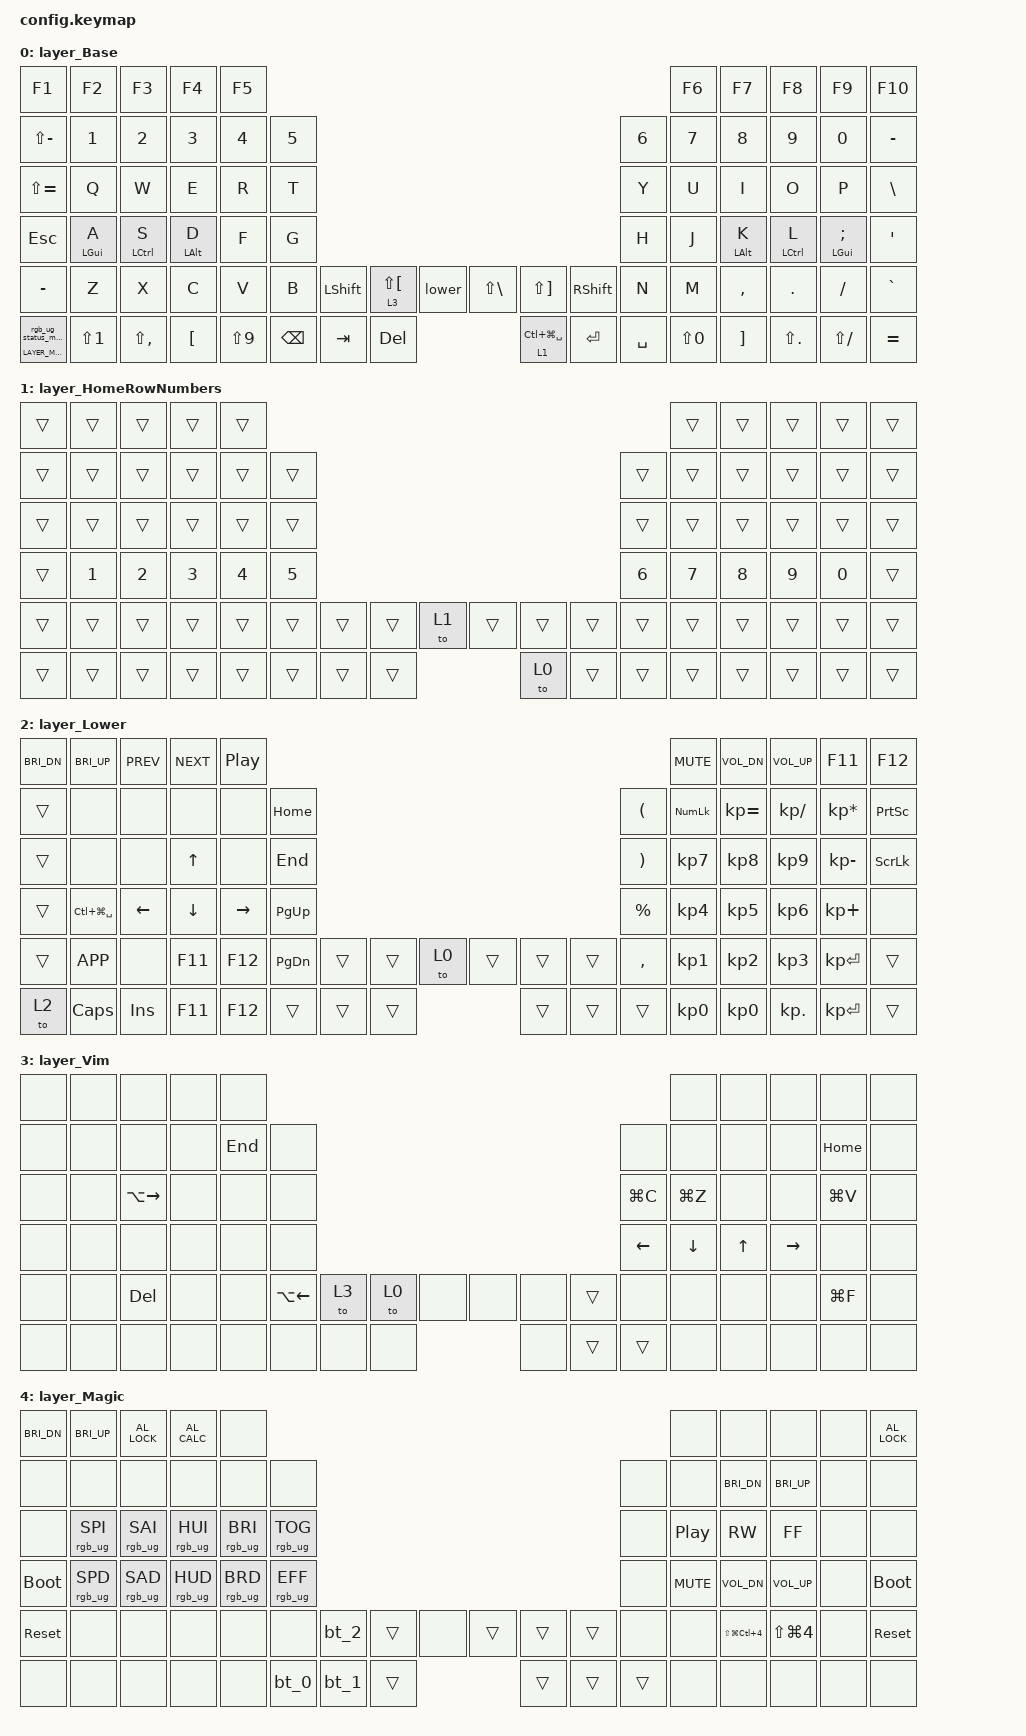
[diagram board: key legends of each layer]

/*
 * Copyright (c) 2020 The ZMK Contributors
 * Copyright (c) 2023 Innaworks Development Limited, trading as MoErgo
 *
 * SPDX-License-Identifier: MIT
 */


/* THIS FILE WAS GENERATED BY GLOVE80 LAYOUT EDITOR
 *
 * This file was generated automatically. You may or may not want to
 * edit it directly.
 */

#include <behaviors.dtsi>
/* Include all behaviour includes needed */
#include <dt-bindings/zmk/outputs.h>
#include <dt-bindings/zmk/keys.h>
#include <dt-bindings/zmk/bt.h>
#include <dt-bindings/zmk/rgb.h>

/* Automatically generated layer name #define */
#define LAYER_Base 0
#define LAYER_HomeRowNumbers 1
#define LAYER_Lower 2
#define LAYER_Vim 3
#define LAYER_Magic 4

/* To deal with the situation where there is no Lower layer, to keep &lower happy */
#ifndef LAYER_Lower
#define LAYER_Lower 0
#endif

/* Custom Device-tree */



/* Glove80 system behavior & macros */
/ {
    behaviors {
        // For the "layer" key, it'd nice to be able to use it as either a shift or a toggle.
        // Configure it as a tap dance, so the first tap (or hold) is a &mo and the second tap is a &to
        lower: lower {
            compatible = "zmk,behavior-tap-dance";
            label = "LAYER_TAP_DANCE";
            #binding-cells = <0>;
            tapping-term-ms = <200>;
            bindings = <&mo LAYER_Lower>, <&to LAYER_Lower>;
        };
    };
};

/ {
    macros {
        rgb_ug_status_macro: rgb_ug_status_macro {
            label = "RGB_UG_STATUS";
            compatible = "zmk,behavior-macro";
            #binding-cells = <0>;
            bindings
                = <&rgb_ug RGB_STATUS>;
        };
    };
};


/ {
#ifdef BT_DISC_CMD
    behaviors {
        bt_0: bt_0 {
            compatible = "zmk,behavior-tap-dance";
            label = "BT_0";
            #binding-cells = <0>;
            tapping-term-ms = <200>;
            bindings = <&bt_select_0>, <&bt BT_DISC 0>;
        };
        bt_1: bt_1 {
            compatible = "zmk,behavior-tap-dance";
            label = "BT_1";
            #binding-cells = <0>;
            tapping-term-ms = <200>;
            bindings = <&bt_select_1>, <&bt BT_DISC 1>;
        };
        bt_2: bt_2 {
            compatible = "zmk,behavior-tap-dance";
            label = "BT_2";
            #binding-cells = <0>;
            tapping-term-ms = <200>;
            bindings = <&bt_select_2>, <&bt BT_DISC 2>;
        };
        bt_3: bt_3 {
            compatible = "zmk,behavior-tap-dance";
            label = "BT_3";
            #binding-cells = <0>;
            tapping-term-ms = <200>;
            bindings = <&bt_select_3>, <&bt BT_DISC 3>;
        };
    };
    macros {
        bt_select_0: bt_select_0 {
            label = "BT_SELECT_0";
            compatible = "zmk,behavior-macro";
            #binding-cells = <0>;
            bindings
                = <&out OUT_BLE>,
                  <&bt BT_SEL 0>;
        };
        bt_select_1: bt_select_1 {
            label = "BT_SELECT_1";
            compatible = "zmk,behavior-macro";
            #binding-cells = <0>;
            bindings
                = <&out OUT_BLE>,
                  <&bt BT_SEL 1>;
        };
        bt_select_2: bt_select_2 {
            label = "BT_SELECT_2";
            compatible = "zmk,behavior-macro";
            #binding-cells = <0>;
            bindings
                = <&out OUT_BLE>,
                  <&bt BT_SEL 2>;
        };
        bt_select_3: bt_select_3 {
            label = "BT_SELECT_3";
            compatible = "zmk,behavior-macro";
            #binding-cells = <0>;
            bindings
                = <&out OUT_BLE>,
                  <&bt BT_SEL 3>;
        };
    };
#else
    macros {
        bt_0: bt_0 {
            label = "BT_0";
            compatible = "zmk,behavior-macro";
            #binding-cells = <0>;
            bindings
                = <&out OUT_BLE>,
                  <&bt BT_SEL 0>;
        };
        bt_1: bt_1 {
            label = "BT_1";
            compatible = "zmk,behavior-macro";
            #binding-cells = <0>;
            bindings
                = <&out OUT_BLE>,
                  <&bt BT_SEL 1>;
        };
        bt_2: bt_2 {
            label = "BT_2";
            compatible = "zmk,behavior-macro";
            #binding-cells = <0>;
            bindings
                = <&out OUT_BLE>,
                  <&bt BT_SEL 2>;
        };
        bt_3: bt_3 {
            label = "BT_3";
            compatible = "zmk,behavior-macro";
            #binding-cells = <0>;
            bindings
                = <&out OUT_BLE>,
                  <&bt BT_SEL 3>;
        };
    };
#endif
};

/ {
    behaviors {
        magic: magic {
            compatible = "zmk,behavior-hold-tap";
            label = "MAGIC_HOLD_TAP";
            #binding-cells = <2>;
            flavor = "tap-preferred";
            tapping-term-ms = <200>;
            bindings = <&mo>, <&rgb_ug_status_macro>;
        };
    };
};

/* #define for key positions */
#define POS_LH_T1 52
#define POS_LH_T2 53
#define POS_LH_T3 54
#define POS_LH_T4 69
#define POS_LH_T5 70
#define POS_LH_T6 71
#define POS_LH_C1R2 15
#define POS_LH_C1R3 27
#define POS_LH_C1R4 39
#define POS_LH_C1R5 51
#define POS_LH_C2R1 4
#define POS_LH_C2R2 14
#define POS_LH_C2R3 26
#define POS_LH_C2R4 38
#define POS_LH_C2R5 50
#define POS_LH_C2R6 68
#define POS_LH_C3R1 3
#define POS_LH_C3R2 13
#define POS_LH_C3R3 25
#define POS_LH_C3R4 37
#define POS_LH_C3R5 49
#define POS_LH_C3R6 67
#define POS_LH_C4R1 2
#define POS_LH_C4R2 12
#define POS_LH_C4R3 24
#define POS_LH_C4R4 36
#define POS_LH_C4R5 48
#define POS_LH_C4R6 66
#define POS_LH_C5R1 1
#define POS_LH_C5R2 11
#define POS_LH_C5R3 23
#define POS_LH_C5R4 35
#define POS_LH_C5R5 47
#define POS_LH_C5R6 65
#define POS_LH_C6R1 0
#define POS_LH_C6R2 10
#define POS_LH_C6R3 22
#define POS_LH_C6R4 34
#define POS_LH_C6R5 46
#define POS_LH_C6R6 64
#define POS_RH_T1 57
#define POS_RH_T2 56
#define POS_RH_T3 55
#define POS_RH_T4 74
#define POS_RH_T5 73
#define POS_RH_T6 72
#define POS_RH_C1R2 16
#define POS_RH_C1R3 28
#define POS_RH_C1R4 40
#define POS_RH_C1R5 58
#define POS_RH_C2R1 5
#define POS_RH_C2R2 17
#define POS_RH_C2R3 29
#define POS_RH_C2R4 41
#define POS_RH_C2R5 59
#define POS_RH_C2R6 75
#define POS_RH_C3R1 6
#define POS_RH_C3R2 18
#define POS_RH_C3R3 30
#define POS_RH_C3R4 42
#define POS_RH_C3R5 60
#define POS_RH_C3R6 76
#define POS_RH_C4R1 7
#define POS_RH_C4R2 19
#define POS_RH_C4R3 31
#define POS_RH_C4R4 43
#define POS_RH_C4R5 61
#define POS_RH_C4R6 77
#define POS_RH_C5R1 8
#define POS_RH_C5R2 20
#define POS_RH_C5R3 32
#define POS_RH_C5R4 44
#define POS_RH_C5R5 62
#define POS_RH_C5R6 78
#define POS_RH_C6R1 9
#define POS_RH_C6R2 21
#define POS_RH_C6R3 33
#define POS_RH_C6R4 45
#define POS_RH_C6R5 63
#define POS_RH_C6R6 79

    /* Custom Defined Behaviors */
/ {
    // NOTE: Use the `#define` settings below to customize this keymap!
// For example, here are the main optional features you can enable:
#define DIFFICULTY_LEVEL 0 // 0:custom, 1:easy -> 5:hard (see below)
// TIP: Add more setting overrides here instead of editing them below.

//////////////////////////////////////////////////////////////////////////////
//
// Advanced Home Row Mods (HRM) Example based on
// Sunaku's Keymap v35 -- "Glorious Engrammer"
// - https://github.com/sunaku/glove80-keymaps
//
//////////////////////////////////////////////////////////////////////////////

//
// DIFFICULTY_LEVEL specifies your level of expertise with this keymap.
// It's meant to help newcomers gradually work their way up to mastery.
// You can disable this setting by omitting it or assigning a `0` zero.
//
// #define DIFFICULTY_LEVEL 0 // custom (see defaults below)
// #define DIFFICULTY_LEVEL 1 // novice (500ms)
// #define DIFFICULTY_LEVEL 2 // slower (400ms)
// #define DIFFICULTY_LEVEL 3 // normal (300ms)
// #define DIFFICULTY_LEVEL 4 // faster (200ms)
// #define DIFFICULTY_LEVEL 5 // expert (100ms)
//
#if defined(DIFFICULTY_LEVEL) && DIFFICULTY_LEVEL > 0
#define DIFFICULTY_THRESHOLD ((6-DIFFICULTY_LEVEL)*100)
#ifndef HOMEY_HOLDING_TIME
#define HOMEY_HOLDING_TIME DIFFICULTY_THRESHOLD
#endif
#ifndef INDEX_HOLDING_TIME
#define INDEX_HOLDING_TIME DIFFICULTY_THRESHOLD
#endif
#endif

//
// Customization by finger
//
#if defined(DIFFICULTY_LEVEL) && DIFFICULTY_LEVEL == 0
#ifndef INDEX_HOLDING_TIME
#define INDEX_HOLDING_TIME 170
#endif
#ifndef MIDDY_HOLDING_TIME
#define MIDDY_HOLDING_TIME 170
#endif
#ifndef RING1_HOLDING_TIME
#define RING1_HOLDING_TIME 180
#endif
#ifndef RING2_HOLDING_TIME
#define RING2_HOLDING_TIME 190
#endif
#ifndef PINKY_HOLDING_TIME
#define PINKY_HOLDING_TIME 210
#endif
#endif


behaviors {

    //////////////////////////////////////////////////////////////////////////
    //
    // Miryoku layers and home row mods (ported from my QMK endgame)
    // - https://sunaku.github.io/home-row-mods.html#porting-to-zmk
    // - https://github.com/urob/zmk-config#timeless-homerow-mods
    //
    //////////////////////////////////////////////////////////////////////////

    //
    // HOMEY_HOLDING_TYPE defines the flavor of ZMK hold-tap behavior to use
    // for the pinky, ring, and middle fingers (which are assigned to Super,
    // Alt, and Ctrl respectively in the Miryoku system) on home row keys.
    //
    #ifndef HOMEY_HOLDING_TYPE
    #define HOMEY_HOLDING_TYPE "tap-preferred"
    #endif

    //
    // HOMEY_HOLDING_TIME defines how long you need to hold (milliseconds)
    // home row mod keys in order to send their modifiers to the computer
    // (i.e. "register" them) for mod-click mouse usage (e.g. Ctrl-Click).
    //
    #ifndef HOMEY_HOLDING_TIME
    #define HOMEY_HOLDING_TIME 270 // TAPPING_TERM + ALLOW_CROSSOVER_AFTER
    #endif

    //
    // HOMEY_STREAK_DECAY defines how long you need to wait (milliseconds)
    // after typing before you can use home row mods again.  It prevents
    // unintended activation of home row mods when you're actively typing.
    //
    #ifndef HOMEY_STREAK_DECAY
    #define HOMEY_STREAK_DECAY 250
    #endif

    //
    // HOMEY_REPEAT_DECAY defines how much time you have left (milliseconds)
    // after tapping a key to hold it again in order to make it auto-repeat.
    //
    #ifndef HOMEY_REPEAT_DECAY
    #define HOMEY_REPEAT_DECAY 300 // "tap then hold" for key auto-repeat
    #endif

    //
    // INDEX_HOLDING_TYPE defines the flavor of ZMK hold-tap behavior to use
    // for index fingers (which Miryoku assigns to Shift) on home row keys.
    //
    #ifndef INDEX_HOLDING_TYPE
    #define INDEX_HOLDING_TYPE "tap-preferred"
    #endif

    //
    // INDEX_HOLDING_TIME defines how long you need to hold (milliseconds)
    // index finger keys in order to send their modifiers to the computer
    // (i.e. "register" them) for mod-click mouse usage (e.g. Shift-Click).
    //
    #ifndef INDEX_HOLDING_TIME
    #define INDEX_HOLDING_TIME 170
    #endif

    //
    // INDEX_STREAK_DECAY defines how long you need to wait (milliseconds)
    // after typing before you can use home row mods again.  It prevents
    // unintended activation of home row mods when you're actively typing.
    //
    #ifndef INDEX_STREAK_DECAY
    #define INDEX_STREAK_DECAY 150
    #endif

    //
    // INDEX_REPEAT_DECAY defines how much time you have left (milliseconds)
    // after tapping a key to hold it again in order to make it auto-repeat.
    //
    #ifndef INDEX_REPEAT_DECAY
    #define INDEX_REPEAT_DECAY 300 // "tap then hold" for key auto-repeat
    #endif

    //
    // Glove80 key positions index for positional hold-tap
    // - https://discord.com/channels/877392805654306816/937645688244826154/1066713913351221248
    // - https://media.discordapp.net/attachments/937645688244826154/1066713913133121556/image.png
    //
    // |------------------------|------------------------|
    // | LEFT_HAND_KEYS         |        RIGHT_HAND_KEYS |
    // |                        |                        |
    // |  0  1  2  3  4         |          5  6  7  8  9 |
    // | 10 11 12 13 14 15      |      16 17 18 19 20 21 |
    // | 22 23 24 25 26 27      |      28 29 30 31 32 33 |
    // | 34 35 36 37 38 39      |      40 41 42 43 44 45 |
    // | 46 47 48 49 50 51      |      58 59 60 61 62 63 |
    // | 64 65 66 67 68         |         75 76 77 78 79 |
    // |                69 52   |   57 74                |
    // |                 70 53  |  56 73                 |
    // |                  71 54 | 55 72                  |
    // |------------------------|------------------------|
    //
    #define LEFT_HAND_KEYS      \
          0  1  2  3  4         \
         10 11 12 13 14 15      \
         22 23 24 25 26 27      \
         34 35 36 37 38 39      \
         46 47 48 49 50 51      \
         64 65 66 67 68
    #define RIGHT_HAND_KEYS     \
                                           5  6  7  8  9 \
                                       16 17 18 19 20 21 \
                                       28 29 30 31 32 33 \
                                       40 41 42 43 44 45 \
                                       58 59 60 61 62 63 \
                                          75 76 77 78 79
    #define THUMB_KEYS          \
                        69 52       57 74                \
                         70 53     56 73                 \
                          71 54   55 72

    //
    // Home row mods with per-finger configuration settings
    //
    #ifndef PINKY_HOLDING_TYPE
    #define PINKY_HOLDING_TYPE HOMEY_HOLDING_TYPE
    #endif
    #ifndef PINKY_HOLDING_TIME
    #define PINKY_HOLDING_TIME HOMEY_HOLDING_TIME
    #endif
    #ifndef PINKY_STREAK_DECAY
    #define PINKY_STREAK_DECAY HOMEY_STREAK_DECAY
    #endif
    #ifndef PINKY_REPEAT_DECAY
    #define PINKY_REPEAT_DECAY HOMEY_REPEAT_DECAY
    #endif
    #ifndef RING1_HOLDING_TYPE
    #define RING1_HOLDING_TYPE HOMEY_HOLDING_TYPE
    #endif
    #ifndef RING1_HOLDING_TIME
    #define RING1_HOLDING_TIME HOMEY_HOLDING_TIME
    #endif
    #ifndef RING1_STREAK_DECAY
    #define RING1_STREAK_DECAY HOMEY_STREAK_DECAY
    #endif
    #ifndef RING1_REPEAT_DECAY
    #define RING1_REPEAT_DECAY HOMEY_REPEAT_DECAY
    #endif
    #ifndef RING2_HOLDING_TYPE
    #define RING2_HOLDING_TYPE HOMEY_HOLDING_TYPE
    #endif
    #ifndef RING2_HOLDING_TIME
    #define RING2_HOLDING_TIME HOMEY_HOLDING_TIME
    #endif
    #ifndef RING2_STREAK_DECAY
    #define RING2_STREAK_DECAY HOMEY_STREAK_DECAY
    #endif
    #ifndef RING2_REPEAT_DECAY
    #define RING2_REPEAT_DECAY HOMEY_REPEAT_DECAY
    #endif
    #ifndef MIDDY_HOLDING_TYPE
    #define MIDDY_HOLDING_TYPE HOMEY_HOLDING_TYPE
    #endif
    #ifndef MIDDY_HOLDING_TIME
    #define MIDDY_HOLDING_TIME HOMEY_HOLDING_TIME
    #endif
    #ifndef MIDDY_STREAK_DECAY
    #define MIDDY_STREAK_DECAY HOMEY_STREAK_DECAY
    #endif
    #ifndef MIDDY_REPEAT_DECAY
    #define MIDDY_REPEAT_DECAY HOMEY_REPEAT_DECAY
    #endif
    #ifndef INDEX_HOLDING_TYPE
    #define INDEX_HOLDING_TYPE HOMEY_HOLDING_TYPE
    #endif
    #ifndef INDEX_HOLDING_TIME
    #define INDEX_HOLDING_TIME HOMEY_HOLDING_TIME
    #endif
    #ifndef INDEX_STREAK_DECAY
    #define INDEX_STREAK_DECAY HOMEY_STREAK_DECAY
    #endif
    #ifndef INDEX_REPEAT_DECAY
    #define INDEX_REPEAT_DECAY HOMEY_REPEAT_DECAY
    #endif
    #ifndef LEFT_PINKY_HOLDING_TYPE
    #define LEFT_PINKY_HOLDING_TYPE PINKY_HOLDING_TYPE
    #endif
    #ifndef LEFT_PINKY_HOLDING_TIME
    #define LEFT_PINKY_HOLDING_TIME PINKY_HOLDING_TIME
    #endif
    #ifndef LEFT_PINKY_STREAK_DECAY
    #define LEFT_PINKY_STREAK_DECAY PINKY_STREAK_DECAY
    #endif
    #ifndef LEFT_PINKY_REPEAT_DECAY
    #define LEFT_PINKY_REPEAT_DECAY PINKY_REPEAT_DECAY
    #endif
    left_pinky: homey_left_pinky {
        compatible = "zmk,behavior-hold-tap";
        flavor = LEFT_PINKY_HOLDING_TYPE;
        hold-trigger-key-positions = <RIGHT_HAND_KEYS THUMB_KEYS>;
        hold-trigger-on-release; // wait for other home row mods
        tapping-term-ms = <LEFT_PINKY_HOLDING_TIME>;
        quick-tap-ms = <LEFT_PINKY_REPEAT_DECAY>;
        require-prior-idle-ms = <LEFT_PINKY_STREAK_DECAY>;
        #binding-cells = <2>;
        bindings = <&kp>, <&kp>;
    };
    #ifndef RIGHT_PINKY_HOLDING_TYPE
    #define RIGHT_PINKY_HOLDING_TYPE PINKY_HOLDING_TYPE
    #endif
    #ifndef RIGHT_PINKY_HOLDING_TIME
    #define RIGHT_PINKY_HOLDING_TIME PINKY_HOLDING_TIME
    #endif
    #ifndef RIGHT_PINKY_STREAK_DECAY
    #define RIGHT_PINKY_STREAK_DECAY PINKY_STREAK_DECAY
    #endif
    #ifndef RIGHT_PINKY_REPEAT_DECAY
    #define RIGHT_PINKY_REPEAT_DECAY PINKY_REPEAT_DECAY
    #endif
    right_pinky: homey_right_pinky {
        compatible = "zmk,behavior-hold-tap";
        flavor = RIGHT_PINKY_HOLDING_TYPE;
        hold-trigger-key-positions = <LEFT_HAND_KEYS THUMB_KEYS>;
        hold-trigger-on-release; // wait for other home row mods
        tapping-term-ms = <RIGHT_PINKY_HOLDING_TIME>;
        quick-tap-ms = <RIGHT_PINKY_REPEAT_DECAY>;
        require-prior-idle-ms = <RIGHT_PINKY_STREAK_DECAY>;
        #binding-cells = <2>;
        bindings = <&kp>, <&kp>;
    };
    #ifndef LEFT_RING1_HOLDING_TYPE
    #define LEFT_RING1_HOLDING_TYPE RING1_HOLDING_TYPE
    #endif
    #ifndef LEFT_RING1_HOLDING_TIME
    #define LEFT_RING1_HOLDING_TIME RING1_HOLDING_TIME
    #endif
    #ifndef LEFT_RING1_STREAK_DECAY
    #define LEFT_RING1_STREAK_DECAY RING1_STREAK_DECAY
    #endif
    #ifndef LEFT_RING1_REPEAT_DECAY
    #define LEFT_RING1_REPEAT_DECAY RING1_REPEAT_DECAY
    #endif
    left_ring1: homey_left_ring1 {
        compatible = "zmk,behavior-hold-tap";
        flavor = LEFT_RING1_HOLDING_TYPE;
        hold-trigger-key-positions = <RIGHT_HAND_KEYS THUMB_KEYS>;
        hold-trigger-on-release; // wait for other home row mods
        tapping-term-ms = <LEFT_RING1_HOLDING_TIME>;
        quick-tap-ms = <LEFT_RING1_REPEAT_DECAY>;
        require-prior-idle-ms = <LEFT_RING1_STREAK_DECAY>;
        #binding-cells = <2>;
        bindings = <&kp>, <&kp>;
    };
    #ifndef RIGHT_RING1_HOLDING_TYPE
    #define RIGHT_RING1_HOLDING_TYPE RING1_HOLDING_TYPE
    #endif
    #ifndef RIGHT_RING1_HOLDING_TIME
    #define RIGHT_RING1_HOLDING_TIME RING1_HOLDING_TIME
    #endif
    #ifndef RIGHT_RING1_STREAK_DECAY
    #define RIGHT_RING1_STREAK_DECAY RING1_STREAK_DECAY
    #endif
    #ifndef RIGHT_RING1_REPEAT_DECAY
    #define RIGHT_RING1_REPEAT_DECAY RING1_REPEAT_DECAY
    #endif
    right_ring1: homey_right_ring1 {
        compatible = "zmk,behavior-hold-tap";
        flavor = RIGHT_RING1_HOLDING_TYPE;
        hold-trigger-key-positions = <LEFT_HAND_KEYS THUMB_KEYS>;
        hold-trigger-on-release; // wait for other home row mods
        tapping-term-ms = <RIGHT_RING1_HOLDING_TIME>;
        quick-tap-ms = <RIGHT_RING1_REPEAT_DECAY>;
        require-prior-idle-ms = <RIGHT_RING1_STREAK_DECAY>;
        #binding-cells = <2>;
        bindings = <&kp>, <&kp>;
    };
    #ifndef LEFT_RING2_HOLDING_TYPE
    #define LEFT_RING2_HOLDING_TYPE RING2_HOLDING_TYPE
    #endif
    #ifndef LEFT_RING2_HOLDING_TIME
    #define LEFT_RING2_HOLDING_TIME RING2_HOLDING_TIME
    #endif
    #ifndef LEFT_RING2_STREAK_DECAY
    #define LEFT_RING2_STREAK_DECAY RING2_STREAK_DECAY
    #endif
    #ifndef LEFT_RING2_REPEAT_DECAY
    #define LEFT_RING2_REPEAT_DECAY RING2_REPEAT_DECAY
    #endif
    left_ring2: homey_left_ring2 {
        compatible = "zmk,behavior-hold-tap";
        flavor = LEFT_RING2_HOLDING_TYPE;
        hold-trigger-key-positions = <RIGHT_HAND_KEYS THUMB_KEYS>;
        hold-trigger-on-release; // wait for other home row mods
        tapping-term-ms = <LEFT_RING2_HOLDING_TIME>;
        quick-tap-ms = <LEFT_RING2_REPEAT_DECAY>;
        require-prior-idle-ms = <LEFT_RING2_STREAK_DECAY>;
        #binding-cells = <2>;
        bindings = <&kp>, <&kp>;
    };
    #ifndef RIGHT_RING2_HOLDING_TYPE
    #define RIGHT_RING2_HOLDING_TYPE RING2_HOLDING_TYPE
    #endif
    #ifndef RIGHT_RING2_HOLDING_TIME
    #define RIGHT_RING2_HOLDING_TIME RING2_HOLDING_TIME
    #endif
    #ifndef RIGHT_RING2_STREAK_DECAY
    #define RIGHT_RING2_STREAK_DECAY RING2_STREAK_DECAY
    #endif
    #ifndef RIGHT_RING2_REPEAT_DECAY
    #define RIGHT_RING2_REPEAT_DECAY RING2_REPEAT_DECAY
    #endif
    right_ring2: homey_right_ring2 {
        compatible = "zmk,behavior-hold-tap";
        flavor = RIGHT_RING2_HOLDING_TYPE;
        hold-trigger-key-positions = <LEFT_HAND_KEYS THUMB_KEYS>;
        hold-trigger-on-release; // wait for other home row mods
        tapping-term-ms = <RIGHT_RING2_HOLDING_TIME>;
        quick-tap-ms = <RIGHT_RING2_REPEAT_DECAY>;
        require-prior-idle-ms = <RIGHT_RING2_STREAK_DECAY>;
        #binding-cells = <2>;
        bindings = <&kp>, <&kp>;
    };
    #ifndef LEFT_MIDDY_HOLDING_TYPE
    #define LEFT_MIDDY_HOLDING_TYPE MIDDY_HOLDING_TYPE
    #endif
    #ifndef LEFT_MIDDY_HOLDING_TIME
    #define LEFT_MIDDY_HOLDING_TIME MIDDY_HOLDING_TIME
    #endif
    #ifndef LEFT_MIDDY_STREAK_DECAY
    #define LEFT_MIDDY_STREAK_DECAY MIDDY_STREAK_DECAY
    #endif
    #ifndef LEFT_MIDDY_REPEAT_DECAY
    #define LEFT_MIDDY_REPEAT_DECAY MIDDY_REPEAT_DECAY
    #endif
    left_middy: homey_left_middy {
        compatible = "zmk,behavior-hold-tap";
        flavor = LEFT_MIDDY_HOLDING_TYPE;
        hold-trigger-key-positions = <RIGHT_HAND_KEYS THUMB_KEYS>;
        hold-trigger-on-release; // wait for other home row mods
        tapping-term-ms = <LEFT_MIDDY_HOLDING_TIME>;
        quick-tap-ms = <LEFT_MIDDY_REPEAT_DECAY>;
        require-prior-idle-ms = <LEFT_MIDDY_STREAK_DECAY>;
        #binding-cells = <2>;
        bindings = <&kp>, <&kp>;
    };
    #ifndef RIGHT_MIDDY_HOLDING_TYPE
    #define RIGHT_MIDDY_HOLDING_TYPE MIDDY_HOLDING_TYPE
    #endif
    #ifndef RIGHT_MIDDY_HOLDING_TIME
    #define RIGHT_MIDDY_HOLDING_TIME MIDDY_HOLDING_TIME
    #endif
    #ifndef RIGHT_MIDDY_STREAK_DECAY
    #define RIGHT_MIDDY_STREAK_DECAY MIDDY_STREAK_DECAY
    #endif
    #ifndef RIGHT_MIDDY_REPEAT_DECAY
    #define RIGHT_MIDDY_REPEAT_DECAY MIDDY_REPEAT_DECAY
    #endif
    right_middy: homey_right_middy {
        compatible = "zmk,behavior-hold-tap";
        flavor = RIGHT_MIDDY_HOLDING_TYPE;
        hold-trigger-key-positions = <LEFT_HAND_KEYS THUMB_KEYS>;
        hold-trigger-on-release; // wait for other home row mods
        tapping-term-ms = <RIGHT_MIDDY_HOLDING_TIME>;
        quick-tap-ms = <RIGHT_MIDDY_REPEAT_DECAY>;
        require-prior-idle-ms = <RIGHT_MIDDY_STREAK_DECAY>;
        #binding-cells = <2>;
        bindings = <&kp>, <&kp>;
    };
    #ifndef LEFT_INDEX_HOLDING_TYPE
    #define LEFT_INDEX_HOLDING_TYPE INDEX_HOLDING_TYPE
    #endif
    #ifndef LEFT_INDEX_HOLDING_TIME
    #define LEFT_INDEX_HOLDING_TIME INDEX_HOLDING_TIME
    #endif
    #ifndef LEFT_INDEX_STREAK_DECAY
    #define LEFT_INDEX_STREAK_DECAY INDEX_STREAK_DECAY
    #endif
    #ifndef LEFT_INDEX_REPEAT_DECAY
    #define LEFT_INDEX_REPEAT_DECAY INDEX_REPEAT_DECAY
    #endif
    left_index: homey_left_index {
        compatible = "zmk,behavior-hold-tap";
        flavor = LEFT_INDEX_HOLDING_TYPE;
        hold-trigger-key-positions = <RIGHT_HAND_KEYS THUMB_KEYS>;
        hold-trigger-on-release; // wait for other home row mods
        tapping-term-ms = <LEFT_INDEX_HOLDING_TIME>;
        quick-tap-ms = <LEFT_INDEX_REPEAT_DECAY>;
        require-prior-idle-ms = <LEFT_INDEX_STREAK_DECAY>;
        #binding-cells = <2>;
        bindings = <&kp>, <&kp>;
    };
    #ifndef RIGHT_INDEX_HOLDING_TYPE
    #define RIGHT_INDEX_HOLDING_TYPE INDEX_HOLDING_TYPE
    #endif
    #ifndef RIGHT_INDEX_HOLDING_TIME
    #define RIGHT_INDEX_HOLDING_TIME INDEX_HOLDING_TIME
    #endif
    #ifndef RIGHT_INDEX_STREAK_DECAY
    #define RIGHT_INDEX_STREAK_DECAY INDEX_STREAK_DECAY
    #endif
    #ifndef RIGHT_INDEX_REPEAT_DECAY
    #define RIGHT_INDEX_REPEAT_DECAY INDEX_REPEAT_DECAY
    #endif
    right_index: homey_right_index {
        compatible = "zmk,behavior-hold-tap";
        flavor = RIGHT_INDEX_HOLDING_TYPE;
        hold-trigger-key-positions = <LEFT_HAND_KEYS THUMB_KEYS>;
        hold-trigger-on-release; // wait for other home row mods
        tapping-term-ms = <RIGHT_INDEX_HOLDING_TIME>;
        quick-tap-ms = <RIGHT_INDEX_REPEAT_DECAY>;
        require-prior-idle-ms = <RIGHT_INDEX_STREAK_DECAY>;
        #binding-cells = <2>;
        bindings = <&kp>, <&kp>;
    };
xt: hold_tap_xt {
    compatible = "zmk,behavior-hold-tap";
    label = "hold_tap_xt";
    #binding-cells = <2>;
    flavor = "hold-preferred";
    tapping-term-ms = <1000>;
    quick-tap-ms = <50>;
    bindings = <&mo>, <&to>;
};
yt: hold_tap_yt {
    compatible = "zmk,behavior-hold-tap";
    label = "hold_tap_yt";
    #binding-cells = <2>;
    flavor = "hold-preferred";
    tapping-term-ms = <1000>;
    quick-tap-ms = <50>;
    bindings = <&mo>, <&kp>;
};
zt: hold_tap_zt {
    compatible = "zmk,behavior-hold-tap";
    label = "hold_tap_zt";
    #binding-cells = <2>;
    flavor = "hold-preferred";
    tapping-term-ms = <200>;
    quick-tap-ms = <1>;
    bindings = <&kp>, <&kp>;
};
tt: tap_toggle {
    compatible = "zmk,behavior-hold-tap";
    label = "tap_toggle";
    #binding-cells = <2>;
    flavor = "balanced";
    tapping-term-ms = <1000>;
    quick-tap-ms = <50>;
    bindings = <&hl>, <&to>;
};

macros {
      hl: hold_layer {
            label = "hold_layer";
            compatible = "zmk,behavior-macro";
            #binding-cells = <0>;
            wait-ms = <0>;
            tap-ms = <0>;
            bindings = <&to 0>, <&macro_pause_for_release>, <&to 1>;
        };
	spc_num: spc_num {
            label = "spc_num";
            compatible = "zmk,behavior-macro";
            #binding-cells = <0>;
            wait-ms = <0>;
            tap-ms = <0>;
            bindings = <&kp RA(K) &kp SPACE>;
	};
	puiss: puiss {
            label = "puiss";
            compatible = "zmk,behavior-macro";
            #binding-cells = <0>;
            wait-ms = <0>;
            tap-ms = <0>;
            bindings = <&kp SQT &kp SQT>;
	};
	tild: tild {
            label = "tild";
            compatible = "zmk,behavior-macro";
            #binding-cells = <0>;
            wait-ms = <0>;
            tap-ms = <0>;
            bindings = <&kp SQT &kp C>;
	};
	diff: diff {
            label = "diff";
            compatible = "zmk,behavior-macro";
            #binding-cells = <0>;
            wait-ms = <0>;
            tap-ms = <0>;
            bindings = <&kp RS(SQT) &kp N8>;
	};
};

};
};

    /* Automatically generated keymap */
/ {
    keymap {
        compatible = "zmk,keymap";


        layer_Base {
            bindings = <
               &kp F1              &kp F2               &kp F3              &kp F4      &kp F5                                                                                                        &kp F6               &kp F7                &kp F8                  &kp F9    &kp F10
        &kp LS(MINUS)              &kp N1               &kp N2              &kp N3      &kp N4  &kp N5                                                                                    &kp N6      &kp N7               &kp N8                &kp N9                  &kp N0  &kp MINUS
        &kp LS(EQUAL)               &kp Q                &kp W               &kp E       &kp R   &kp T                                                                                     &kp Y       &kp U                &kp I                 &kp O                   &kp P   &kp BSLH
              &kp ESC  &left_pinky LGUI A  &left_ring1 LCTRL S  &left_middy LALT D       &kp F   &kp G                                                                                     &kp H       &kp J  &right_middy LALT K  &right_ring1 LCTRL L  &right_pinky LGUI SEMI    &kp SQT
            &kp MINUS               &kp Z                &kp X               &kp C       &kp V   &kp B  &kp LSHFT  &lt 3 LS(LBKT)   &lower         &kp LS(BSLH)  &kp LS(RBKT)  &kp RSHFT   &kp N       &kp M            &kp COMMA               &kp DOT                &kp FSLH  &kp GRAVE
 &magic LAYER_Magic 0          &kp LS(N1)        &kp LS(COMMA)            &kp LBKT  &kp LS(N9)           &kp BSPC         &kp TAB  &kp DEL  &lt 1 LC(LG(SPACE))       &kp RET  &kp SPACE          &kp LS(N0)             &kp RBKT           &kp LS(DOT)            &kp LS(FSLH)  &kp EQUAL
            >;
        };

        layer_HomeRowNumbers {
            bindings = <
 &trans  &trans  &trans  &trans  &trans                                                                  &trans  &trans  &trans  &trans  &trans
 &trans  &trans  &trans  &trans  &trans  &trans                                                  &trans  &trans  &trans  &trans  &trans  &trans
 &trans  &trans  &trans  &trans  &trans  &trans                                                  &trans  &trans  &trans  &trans  &trans  &trans
 &trans  &kp N1  &kp N2  &kp N3  &kp N4  &kp N5                                                  &kp N6  &kp N7  &kp N8  &kp N9  &kp N0  &trans
 &trans  &trans  &trans  &trans  &trans  &trans  &trans  &trans   &to 1  &trans  &trans  &trans  &trans  &trans  &trans  &trans  &trans  &trans
 &trans  &trans  &trans  &trans  &trans          &trans  &trans  &trans   &to 0  &trans  &trans          &trans  &trans  &trans  &trans  &trans
            >;
        };

        layer_Lower {
            bindings = <
 &kp C_BRI_DN       &kp C_BRI_UP      &kp C_PREV      &kp C_NEXT         &kp C_PP                                                                                    &kp C_MUTE  &kp C_VOL_DN  &kp C_VOL_UP          &kp F11          &kp F12
       &trans              &none           &none           &none            &none   &kp HOME                                                   &kp LEFT_PARENTHESIS  &kp KP_NUM  &kp KP_EQUAL  &kp KP_SLASH  &kp KP_MULTIPLY  &kp PRINTSCREEN
       &trans              &none           &none    &kp UP_ARROW            &none    &kp END                                                  &kp RIGHT_PARENTHESIS   &kp KP_N7     &kp KP_N8     &kp KP_N9     &kp KP_MINUS   &kp SCROLLLOCK
       &trans  &kp LC(LG(SPACE))  &kp LEFT_ARROW  &kp DOWN_ARROW  &kp RIGHT_ARROW  &kp PG_UP                                                            &kp PERCENT   &kp KP_N4     &kp KP_N5     &kp KP_N6      &kp KP_PLUS            &none
       &trans          &kp K_APP           &none         &kp F11          &kp F12  &kp PG_DN  &trans  &trans   &to 0  &trans  &trans  &trans              &kp COMMA   &kp KP_N1     &kp KP_N2     &kp KP_N3     &kp KP_ENTER           &trans
        &to 2           &kp CAPS         &kp INS         &kp F11          &kp F12             &trans  &trans  &trans  &trans  &trans  &trans                          &kp KP_N0     &kp KP_N0    &kp KP_DOT     &kp KP_ENTER           &trans
            >;
        };

        layer_Vim {
            bindings = <
  &none   &none          &none   &none    &none                                                                               &none   &none      &none      &none   &none
  &none   &none          &none   &none  &kp END         &none                                                      &none      &none   &none      &none   &kp HOME   &none
  &none   &none  &kp LA(RIGHT)   &none    &none         &none                                                  &kp LG(C)  &kp LG(Z)   &none      &none  &kp LG(V)   &none
  &none   &none          &none   &none    &none         &none                                                   &kp LEFT   &kp DOWN  &kp UP  &kp RIGHT      &none   &none
  &none   &none        &kp DEL   &none    &none  &kp LA(LEFT)   &to 3   &to 0   &none   &none   &none  &trans      &none      &none   &none      &none  &kp LG(F)   &none
  &none   &none          &none   &none    &none                 &none   &none   &none   &none  &trans  &trans                 &none   &none      &none      &none   &none
            >;
        };

        layer_Magic {
            bindings = <
 &kp C_BRI_DN     &kp C_BRI_UP    &kp C_AL_LOCK    &kp C_AL_CALC            &none                                                                                &none               &none           &none   &none  &kp C_AL_LOCK
        &none            &none            &none            &none            &none            &none                                                   &none       &none        &kp C_BRI_DN    &kp C_BRI_UP   &none          &none
        &none  &rgb_ug RGB_SPI  &rgb_ug RGB_SAI  &rgb_ug RGB_HUI  &rgb_ug RGB_BRI  &rgb_ug RGB_TOG                                                   &none    &kp C_PP            &kp C_RW        &kp C_FF   &none          &none
  &bootloader  &rgb_ug RGB_SPD  &rgb_ug RGB_SAD  &rgb_ug RGB_HUD  &rgb_ug RGB_BRD  &rgb_ug RGB_EFF                                                   &none  &kp C_MUTE        &kp C_VOL_DN    &kp C_VOL_UP   &none    &bootloader
   &sys_reset            &none            &none            &none            &none            &none   &bt_2  &trans   &none  &trans  &trans  &trans   &none       &none  &kp LS(LG(LC(N4)))  &kp LS(LG(N4))   &none     &sys_reset
        &none            &none            &none            &none            &none                    &bt_0   &bt_1  &trans  &trans  &trans  &trans               &none               &none           &none   &none          &none
            >;
        };

    };
};
